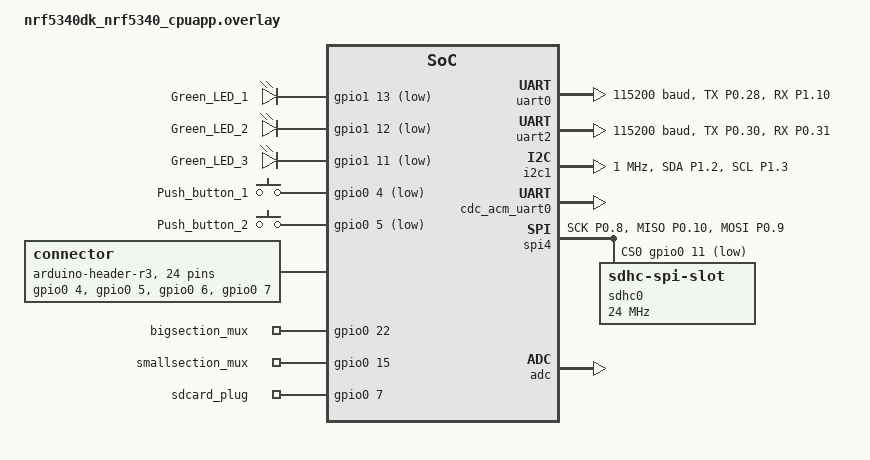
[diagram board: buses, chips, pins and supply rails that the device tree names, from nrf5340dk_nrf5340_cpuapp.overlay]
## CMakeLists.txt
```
cmake_minimum_required(VERSION 3.20.0)
find_package(Zephyr REQUIRED HINTS $ENV{ZEPHYR_BASE})

project(dfu_with_uart)

target_sources(app PRIVATE src/main.c)
target_sources(app PRIVATE src/frame_format.c)
```

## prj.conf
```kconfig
# COMMON ZEPHYR SPECIFIC
CONFIG_ASSERT=y
CONFIG_CONSOLE=y
CONFIG_UART_CONSOLE=y
CONFIG_STDOUT_CONSOLE=y
CONFIG_DEBUG_THREAD_INFO=y
CONFIG_USERSPACE=y


# LOGGING
CONFIG_LOG=y
CONFIG_LOG_BUFFER_SIZE=20240
CONFIG_USB_DRIVER_LOG_LEVEL_ERR=y
CONFIG_USB_DEVICE_LOG_LEVEL_ERR=y


# GIPOS
CONFIG_LED=y
CONFIG_GPIO=y


# Stacks and heaps
CONFIG_MAIN_STACK_SIZE=10240
CONFIG_HEAP_MEM_POOL_SIZE=40960
CONFIG_SYS_HEAP_RUNTIME_STATS=y


# ADC
CONFIG_ADC=n
# CONFIG_NRFX_GPIOTE=y
CONFIG_NRFX_SAADC=y
CONFIG_NRFX_TIMER0=y


# I2C
CONFIG_I2C=y
# CONFIG_LOG_DEFAULT_LEVEL=4
CONFIG_I2C_LOG_LEVEL_DBG=y
CONFIG_I2C_LOG_LEVEL_INF=y
# CONFIG_I2C_1_NRF_TWIM=y
# CONFIG_NRFX_TWIM=y
# CONFIG_NRFX_TWIM1=y
# CONFIG_NRFX_TWIM1=y


# UART
CONFIG_UART_LINE_CTRL=y
CONFIG_UART_USE_RUNTIME_CONFIGURE=y
CONFIG_UART_ASYNC_API=y
CONFIG_UART_INTERRUPT_DRIVEN=n



CONFIG_SERIAL=y

# USB
CONFIG_SERIAL=y
CONFIG_USB_DEVICE_STACK=y
CONFIG_USB_DEVICE_PRODUCT="Dozee_BallistaSense"
CONFIG_USB_DEVICE_PID=0x0004
CONFIG_USB_CDC_ACM=y
CONFIG_USB_DEVICE_INITIALIZE_AT_BOOT=n

# Rebooot
CONFIG_REBOOT=y
CONFIG_RESET_ON_FATAL_ERROR=y


# SDCARD
CONFIG_DISK_ACCESS=y
CONFIG_FILE_SYSTEM=y
CONFIG_FAT_FILESYSTEM_ELM=y
CONFIG_SPI=y
CONFIG_SDHC=y
CONFIG_SPI_SDHC=y
CONFIG_SPI_SLAVE=y
CONFIG_DISK_DRIVER_SDMMC=y
CONFIG_DISK_DRIVERS=y
CONFIG_SDMMC_STACK=y
CONFIG_SDMMC_SUBSYS=y
CONFIG_FS_FATFS_NUM_FILES=32
CONFIG_FS_FATFS_NUM_DIRS=8
CONFIG_FS_FATFS_REENTRANT=y


# Multithreading

CONFIG_MULTITHREADING=y



# Security
# turned off for debugging, turn this on for production
CONFIG_BOOT_BANNER=y


# Testing
CONFIG_BOARD_ENABLE_DCDC_APP=n
CONFIG_BOARD_ENABLE_DCDC_HV=n
CONFIG_BOARD_ENABLE_DCDC_NET=n

# NVS
CONFIG_MPU_ALLOW_FLASH_WRITE=y
CONFIG_FLASH=y
CONFIG_FLASH_PAGE_LAYOUT=y
CONFIG_NVS=y

# YMODEM
CONFIG_POSIX_API=y

# RTC
CONFIG_MINIMAL_LIBC=y
# CONFIG_NEWLIB_LIBC=y
CONFIG_MINIMAL_LIBC_NON_REENTRANT_FUNCTIONS=y

# OTA
CONFIG_BOOTLOADER_MCUBOOT=y
CONFIG_STREAM_FLASH=y
CONFIG_IMG_MANAGER=y
CONFIG_FLASH_MAP=y
CONFIG_MCUBOOT_IMG_MANAGER=y
CONFIG_IMG_ENABLE_IMAGE_CHECK=y
CONFIG_IMG_ERASE_PROGRESSIVELY=y
CONFIG_STREAM_FLASH_ERASE=y
CONFIG_FLASH_AREA_CHECK_INTEGRITY=y
CONFIG_IMG_BLOCK_BUF_SIZE=512


# BLE
CONFIG_BT=y
CONFIG_MAX_THREAD_BYTES=3
CONFIG_BT_PERIPHERAL=y
CONFIG_BT_DEVICE_NAME="DOZEE BALLISTASENSE"


# MD5 CHECKSUM
CONFIG_FLASH_AREA_CHECK_INTEGRITY_MBEDTLS=y
CONFIG_MBEDTLS_MAC_MD5_ENABLED=y


# BLE MTU
CONFIG_BT_THROUGHPUT=y
CONFIG_BT_GATT_DM=y
CONFIG_BT_USER_DATA_LEN_UPDATE=y
CONFIG_BT_USER_PHY_UPDATE=y
# have a look at this!
CONFIG_BT_GAP_AUTO_UPDATE_CONN_PARAMS=n
CONFIG_BT_BUF_ACL_RX_SIZE=519
CONFIG_BT_ATT_PREPARE_COUNT=2
CONFIG_BT_L2CAP_TX_BUF_COUNT=10
# android can have a maximum MTU of 517 and
# maximum packet of 512 bytes, 
# packet size = (mtu_size - 3) 
# so max(mtu_size)= 515
CONFIG_BT_L2CAP_TX_MTU=515
CONFIG_BT_CONN_TX_MAX=10
CONFIG_BT_BUF_ACL_TX_COUNT=10
CONFIG_BT_BUF_ACL_TX_SIZE=519
CONFIG_BT_GATT_AUTO_UPDATE_MTU=y
CONFIG_BT_GATT_CLIENT=y

# CONFIG_BT_CONN_PARAM
# CONFIG_NRF_APPROTECT_LOCK=y
# CONFIG_NRF_APPROTECT_USE_UICR=y
# CONFIG_NRF_SECURE_APPROTECT_LOCK=y
# CONFIG_NRF_SECURE_APPROTECT_USE_UICR=y
#
CONFIG_MINIMAL_LIBC_MALLOC_ARENA_SIZE=2048

# Dependencies
# Configure dependencies for CONFIG_MCUMGR  
```

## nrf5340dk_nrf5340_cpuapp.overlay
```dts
/*	DOZEE BALLISTASENSE DTS CONFIGURATION	*/

dozee_ballista_bigsection: &uart0 {
	status = "okay";
	current-speed = <115200>;
	pinctrl-0 = <&uart0_default>;
	pinctrl-1 = <&uart0_sleep>;
	pinctrl-names = "default", "sleep";
};

dozee_sheet_smallsection: &uart2 {
	status = "okay";
	current-speed = <115200>;
	pinctrl-0 = <&uart2_default>;
	pinctrl-1 = <&uart2_sleep>;
	pinctrl-names = "default", "sleep";
};

dozee_ballista_rtc: &i2c1 {
	status = "okay";
	compatible = "nordic,nrf-twim";
	label = "I2C_1";
	pinctrl-0 = <&i2c1_default>;
	pinctrl-1 = <&i2c1_sleep>;
	pinctrl-names = "default", "sleep";
	clock-frequency = <1000000>; 
};

dozee_ballista_usb: &zephyr_udc0 {
	cdc_acm_uart0: cdc_acm_uart0 {
		compatible = "zephyr,cdc-acm-uart";
	};
};

&spi4 {
	compatible = "nordic,nrf-spim";
	status = "okay";
	pinctrl-0 = <&spi4_default_alt>;
	pinctrl-1 = <&spi4_sleep_alt>;
	pinctrl-names = "default", "sleep";
	cs-gpios = <&gpio0 11 GPIO_ACTIVE_LOW>;

	sdhc0: sdhc@0 {
			compatible = "zephyr,sdhc-spi-slot";
			reg = <0>;
			status = "okay";
			mmc {
				compatible = "zephyr,sdmmc-disk";
				status = "okay";
			};
			spi-max-frequency = <24000000>;
	};
};

&pinctrl {
	i2c1_default: i2c1_default{
		group1 {
			psels = <NRF_PSEL(TWIM_SDA, 1, 2)>,
				<NRF_PSEL(TWIM_SCL, 1, 3)>;
			// bias-pull-up;
		};
	};

	i2c1_sleep: i2c1_sleep{
		group1 {
			psels = <NRF_PSEL(TWIM_SDA, 1, 2)>,
				<NRF_PSEL(TWIM_SCL, 1, 3)>;
			low-power-enable;
		};
	};

	uart0_default: uart0_default {
		group1 {
			psels = <NRF_PSEL(UART_TX, 0, 28)>;
		};
		group2 {
			psels = <NRF_PSEL(UART_RX, 1, 10)>;
			bias-pull-up;
		};
	};

	uart0_sleep: uart0_sleep {
		group1 {
			psels = <NRF_PSEL(UART_TX, 0, 28)>,
				<NRF_PSEL(UART_RX, 1, 10)>;
			low-power-enable;
		};
	};

	uart2_default: uart2_default {
		group1 {
			psels = <NRF_PSEL(UART_TX, 0, 30)>;
		};
		group2 {
			psels = <NRF_PSEL(UART_RX, 0, 31)>;
			bias-pull-up;
		};
	};

	uart2_sleep: uart2_sleep {
		group1 {
			psels = <NRF_PSEL(UART_TX, 0, 30)>,
				<NRF_PSEL(UART_RX, 0, 31)>;
			low-power-enable;
		};
	};

	spi4_default_alt: spi4_default_alt {
		group1 {
			psels = <NRF_PSEL(SPIM_SCK, 0, 8)>,
				<NRF_PSEL(SPIM_MISO, 0, 10)>,
				<NRF_PSEL(SPIM_MOSI, 0, 9)>;
		};
	};

	spi4_sleep_alt: spi4_sleep_alt {
		group1 {
			psels = <NRF_PSEL(SPIM_SCK, 0, 8)>,
				<NRF_PSEL(SPIM_MISO, 0, 10)>,
				<NRF_PSEL(SPIM_MOSI, 0, 9)>;
			low-power-enable;
		};
	};

};

/ {
	aliases {
		led1 = &led1;
		led2 = &led2;
		led3 = &led3;
		sw1 = &button1;
		sw2 = &button2;
		bgsection = &bigsection_mux;
		smsection = &smallsection_mux;
		sdcardplug = &sdcard_plug;
		// sensorsheetplug = &sensorsheet_plug;

	};

	chosen {
		zephyr,console = &uart0;
		zephyr,code-partition = &slot0_partition;
		zephyr,flash = &flash0;
	};

	leds {
		compatible = "gpio-leds";

		led1: led_1 {
			gpios = <&gpio1 13 GPIO_ACTIVE_LOW>;
			label = "Green_LED_1";
		};
		led2: led_2 {
			gpios = <&gpio1 12 GPIO_ACTIVE_LOW>;
			label = "Green_LED_2";
		};
		led3: led_3 {
			gpios = <&gpio1 11 GPIO_ACTIVE_LOW>;
			label = "Green_LED_3";
		};
	};

	buttons {
		compatible = "gpio-keys";
		
		button1: button_1 {
			gpios = <&gpio0 4 (GPIO_PULL_UP | GPIO_ACTIVE_LOW)>;
			label = "Push_button_1";
		};
		button2: button_2 {
			gpios = <&gpio0 5 (GPIO_PULL_UP | GPIO_ACTIVE_LOW)>;
			label = "Push_button_2";
		};
	};

	connector{
		compatible = "arduino-header-r3";
		#gpio-cells = <2>;
		gpio-map-mask = <0xffffffff 0xffffffc0>;
		gpio-map-pass-thru = <0 0x3f>;
		gpio-map = <0 0 &gpio0 4 0>,	/* A0 */
			   <1 0 &gpio0 5 0>,	/* A1 */
			   <2 0 &gpio0 6 0>,	/* A2 */
			   <3 0 &gpio0 7 0>,	/* A3 */
			   <4 0 &gpio0 25 0>,	/* A4 */
			   <5 0 &gpio0 26 0>,	/* A5 */
			   <6 0 &gpio1 0 0>,	/* D0 */
			   <7 0 &gpio1 1 0>,	/* D1 */
			   <8 0 &gpio1 4 0>,	/* D2 */
			   <9 0 &gpio1 5 0>,	/* D3 */
			   <10 0 &gpio1 6 0>,	/* D4 */
			   <11 0 &gpio1 7 0>,	/* D5 */
			   <12 0 &gpio1 8 0>,	/* D6 */
			   <13 0 &gpio1 9 0>,	/* D7 */
			   <14 0 &gpio1 10 0>,	/* D8 */
			   <15 0 &gpio1 11 0>,	/* D9 */
			   <16 0 &gpio1 12 0>,	/* D10 */
			   <17 0 &gpio1 13 0>,	/* D11 */
			   <18 0 &gpio1 14 0>,	/* D12 */
			   <19 0 &gpio1 15 0>,	/* D13 */
			   <20 0 &gpio1 2 0>,	/* D14 */
			   <21 0 &gpio1 3 0>,	/* D15 */
			   <22 0 &gpio0 27 0>,  /* A6 */
			   <23 0 &gpio0 28 0>;  /* A7 */
	};


	sheetsections {
		compatible = "gpio-keys";
		bigsection_mux: bigsection_mux {
			gpios = <&gpio0 22 (GPIO_PULL_DOWN | GPIO_ACTIVE_HIGH)>,
					<&gpio0 17 (GPIO_PULL_DOWN | GPIO_ACTIVE_HIGH)>,
					<&gpio0 16 (GPIO_PULL_UP | GPIO_ACTIVE_HIGH)>;
		};

		smallsection_mux: smallsection_mux {
			gpios = <&gpio0 15 (GPIO_PULL_DOWN | GPIO_ACTIVE_HIGH)>,
					<&gpio1 5 (GPIO_PULL_DOWN | GPIO_ACTIVE_HIGH)>,
					<&gpio0 13 (GPIO_PULL_UP | GPIO_ACTIVE_HIGH)>;
		};
	};

	sdcardplug {
		compatible = "gpio-keys";
		sdcard_plug: sdcard_plug {
			gpios = < &gpio0 7 (GPIO_PULL_UP | GPIO_ACTIVE_HIGH)>;
		};
	};

	// sensorsheetplug {
	// 	compatible = "gpio-keys";
	// 	sensorsheet_plug: sensorsheet_plug {
	// 		gpios = < &gpio0 7 (GPIO_PULL_UP | GPIO_ACTIVE_HIGH)>;
	// 	};
	// };

};	

&adc {
    status = "okay";
    compatible = "nordic,nrf-saadc";
};

&gpiote {
    status = "okay";
};


/delete-node/ &boot_partition;
/delete-node/ &slot0_partition;
/delete-node/ &slot0_ns_partition;
/delete-node/ &slot1_partition;
/delete-node/ &slot1_ns_partition;


&flash0 {
	status = "okay";
	partitions {
		compatible = "fixed-partitions";
		#address-cells = <1>;
		#size-cells = <1>;

		boot_partition: partition@0 {
			label = "mcuboot";
			reg = <0x00000000 0x00010000>;
		};
		slot0_partition: partition@10000 {
			reg = <0x00010000 0x70000>;
			label = "image-0";
		};
		slot1_partition: partition@80000 {
			reg = <0x00080000 0x70000>;
			label = "image-1";
		};
		/* 0xf0000 to 0xf7fff reserved for TF-M partitions */
		storage_partition: partition@f8000 {
			label = "storage";
			reg = <0x000f8000 0x00008000>;
		};
	};
};


/*  for disabling the SDCard pins forwarding to the network core! */
&gpio_fwd {
	status = "disabled";
};
```

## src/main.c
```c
#include "frame_format.h"
#include "zephyr/sys/printk.h"
#include "zephyr/sys/time_units.h"
#include <stdbool.h>
#include <stdint.h>
#include <stdio.h>
#include <stdlib.h>
#include <string.h>
#include <zephyr/dfu/flash_img.h>
#include <zephyr/dfu/mcuboot.h>
#include <zephyr/drivers/gpio.h>
#include <zephyr/drivers/uart.h>
#include <zephyr/kernel.h>
#include <zephyr/storage/flash_map.h>
#include <zephyr/sys/reboot.h>

#define LED_NODE      DT_ALIAS(led1)
#define FW_CHUNK_SIZE 512

// #define ESC_CHAR 0x7D
// #define SOF_CHAR 0xAA
// #define EOF_CHAR 0x55
// #define XOR_MASK 0x20

#define MCUBOOT_PARTITION_ID FLASH_AREA_ID(mcuboot)
#define IMAGE_0_PARTITION_ID FLASH_AREA_ID(image_0)
#define IMAGE_1_PARTITION_ID FLASH_AREA_ID(image_1)
#define STORAGE_PARTITION_ID FLASH_AREA_ID(storage)

#define CURRENT_IMAGE_PARTITION_ID IMAGE_1_PARTITION_ID

#define UART_QUEUE_MAX_SIZE 10
#define UART_MAX_RX         1024

static const struct gpio_dt_spec led = GPIO_DT_SPEC_GET(LED_NODE, gpios);

/* Define a struct to hold the buffer and its length */
struct uart_data
{
    char data[UART_MAX_RX];
    size_t len;
};

/* Define the message queue to hold uart_data structs */
K_MSGQ_DEFINE(uart_msgq, sizeof(struct uart_data), UART_QUEUE_MAX_SIZE, 4);

/* Buffer to temporarily hold incoming data */
static struct uart_data rx_buf;
static int rx_buf_pos;

void uart_send(const struct device *dev, const uint8_t *data, size_t len)
{
    for (int i = 0; i < len; i++)
    {
        uart_poll_out(dev, data[i]);
    }
    printk("Sent %d bytes\n", len);
}

void send_ack(frame_frm_t *frame, const struct device *uart_dev)
{
    frame_frm_t frmt = FF_FRAME_POPULATE_V1_ACK(frame->cmd, frame->id);
    frmt.crc = 0xffff;

    ff_buff_t *ff_buff = ff_create_frame(&frmt);
    if (!ff_buff)
    {
        printk("Failed to create frame\n");
        return;
    }

    uart_send(uart_dev, ff_buff->buff, ff_buff->len);
    ff_free_frame(ff_buff);
}

void serial_cb(const struct device *dev, void *user_data)
{
    uint8_t c;
    if (!uart_irq_update(dev))
        return;

    if (uart_irq_tx_ready(dev))
    {
        printk("TX ready\n");
    }

    if (uart_irq_rx_ready(dev))
    {
        while (uart_fifo_read(dev, &c, 1) == 1)
        {
            if ((c == 0x55) && rx_buf_pos > 0)
            {
                /* terminate buffer with the special character */
                rx_buf.data[rx_buf_pos] = c;

                /* set the length of the data in the struct */
                rx_buf.len = rx_buf_pos + 1;

                /* if queue is full, message is silently dropped */
                k_msgq_put(&uart_msgq, &rx_buf, K_NO_WAIT);

                /* reset the buffer (it was copied to the msgq) */
                rx_buf_pos = 0;
            }
            else if (rx_buf_pos < (sizeof(rx_buf.data) - 1))
            {
                rx_buf.data[rx_buf_pos++] = c;
                // FIXME: if buffer is full, we should drop the message?
            }
        }
    }
    /* read until FIFO empty */
}

int init_uart(const struct device *dev)
{
    if (!device_is_ready(dev))
    {
        printk("UART device not found!");
        return 0;
    }

    /* configure interrupt and callback to receive data */
    int ret = uart_irq_callback_user_data_set(dev, serial_cb, NULL);
    if (ret < 0)
    {
        if (ret == -ENOTSUP)
        {
            printk("Interrupt-driven UART API support not enabled\n");
        }
        else if (ret == -ENOSYS)
        {
            printk("UART device does not support interrupt-driven API\n");
        }
        else
        {
            printk("Error setting UART callback: %d\n", ret);
        }
        return 0;
    }

    uart_irq_rx_enable(dev);
    return 0;
}

void print_partition_info(int partition_id, const char *label)
{
    const struct flash_area *fa;

    int err = flash_area_open(partition_id, &fa);
    if (err)
    {
        printk("Failed to open partition: %s (ID: %d)\n", label, partition_id);
        return;
    }

    printk("Partition: %s\n", label);
    printk("  Offset: 0x%lx\n", (unsigned long)fa->fa_off);
    printk("  Size: 0x%lx\n", (unsigned long)fa->fa_size);

    flash_area_close(fa);
}

typedef enum
{
    STATE_IDLE,
    STATE_DFU_WRITING,
    STATE_DFU_VALIDATE,
    STATE_DFU_REBOOT,
    STATE_ERROR
} dfu_state_t;

typedef enum
{
    DFU_ERR_FRAME_FORMAT = 1,
    DFU_ERR_FLASH_WRITE,
    DFU_ERR_FLASH_VALIDATE,
    DFU_ERR_FLASH_REBOOT
} dfu_err_t;

typedef struct
{
    uint8_t *buffer;
    size_t buffer_len;
    bool is_valid;
    int error;
} state_dfu_context_t;

dfu_state_t state = STATE_IDLE;

// Function prototypes
void handle_idle(state_dfu_context_t *state_ctx, struct flash_img_context *ctx, const struct device *uart_dev);
void handle_dfu_writing(state_dfu_context_t *state_ctx, struct flash_img_context *ctx, const struct device *uart_dev);
void handle_dfu_validate(state_dfu_context_t *state_ctx, struct flash_img_context *ctx, const struct device *uart_dev);
void handle_dfu_reboot(state_dfu_context_t *state_ctx);
void handle_error(state_dfu_context_t *state_ctx, struct flash_img_context *ctx, const struct device *uart_dev);

int main(void)
{
    printk("Hello World! OTA 4 State machine OTA update\n");

    // LED initialization
    int err = gpio_pin_configure_dt(&led, GPIO_OUTPUT_ACTIVE);

    // Print partition info
    print_partition_info(MCUBOOT_PARTITION_ID, "mcuboot");
    print_partition_info(IMAGE_0_PARTITION_ID, "image-0");
    print_partition_info(IMAGE_1_PARTITION_ID, "image-1");
    print_partition_info(STORAGE_PARTITION_ID, "storage");

    // Initialize flash image context
    struct flash_img_context ctx = {0};
    err = flash_img_init_id(&ctx, CURRENT_IMAGE_PARTITION_ID);
    if (err)
    {
        printk("Flash img failed\n");
        k_sleep(K_MSEC(1000));
        return -1;
    }

    printk("Flash img initialized\n");
    printk("Flash size: %d\n", ctx.flash_area->fa_size);
    printk("Flash offset: %ld\n", ctx.flash_area->fa_off);

    // Initialize UART
    const struct device *uart_dev = DEVICE_DT_GET(DT_NODELABEL(dozee_sheet_smallsection));
    init_uart(uart_dev);

    // State context
    state_dfu_context_t state_ctx = {0};

    // State machine loop
    while (1)
    {
        switch (state)
        {
        case STATE_IDLE:
            handle_idle(&state_ctx, &ctx, uart_dev);
            state = STATE_DFU_WRITING;
            break;

        case STATE_DFU_WRITING:
            handle_dfu_writing(&state_ctx, &ctx, uart_dev);
            state = STATE_DFU_VALIDATE;
            break;

        case STATE_DFU_VALIDATE:
            handle_dfu_validate(&state_ctx, &ctx, uart_dev);
            state = STATE_DFU_REBOOT;
            break;

        case STATE_DFU_REBOOT:
            handle_dfu_reboot(&state_ctx);
            state = STATE_IDLE;
            break;

        case STATE_ERROR:
            handle_error(&state_ctx, &ctx, uart_dev);
            state = STATE_IDLE;
            break;

        default:
            printk("Invalid state, transitioning to STATE_ERROR\n");
            state = STATE_ERROR;
            break;
        }
    }

    return 0;
}

void handle_idle(state_dfu_context_t *state_ctx, struct flash_img_context *ctx, const struct device *uart_dev)
{
    printk("STATE_IDLE\n");

    while (k_msgq_get(&uart_msgq, &rx_buf, K_FOREVER) == 0)
    {
        frame_frm_t frame;
        ff_err_t ff_err = ff_process_frame(&frame, rx_buf.data, rx_buf.len);
        if (ff_err != FF_ERR_OK)
        {
            printk("Error processing frame: %d\n", ff_err);
            state_ctx->error = DFU_ERR_FRAME_FORMAT;
            state = STATE_ERROR;
            break;
        }

        if (frame.cmd == 0xF1)
        {
            // printk("Received start command\n");
            // // Erase the flash area
            // int ret = flash_area_erase(ctx->flash_area, 0, ctx->flash_area->fa_size);
            // if (ret != 0)
            // {
            //     printk("Flash erase failed (%d)\n", ret);
            //     state_ctx->error = DFU_ERR_FLASH_WRITE;
            //     state = STATE_ERROR;
            //     break;
            // }
            //
            // printk("Flash erased\n");

            if (!frame.buff && frame.len != 2)
            {
                printk("Invalid length for start command\n");
                state_ctx->error = DFU_ERR_FRAME_FORMAT;
                state = STATE_ERROR;
                break;
            }

            uint16_t total_chunks = ((uint8_t *)frame.buff)[0] << 8 | ((uint8_t *)frame.buff)[1];
            printk("Total chunks: %d\n", total_chunks);

            state_ctx->buffer = frame.buff;
            state_ctx->buffer_len = frame.len;
            state_ctx->is_valid = true;

            frame_frm_t frmt = FF_FRAME_POPULATE_V1_ACK(frame.cmd, frame.id);
            frmt.crc = 0xffff;

            ff_buff_t *ff_buff = ff_create_frame(&frmt);
            if (!ff_buff)
            {
                printk("Failed to create frame\n");
                state_ctx->error = DFU_ERR_FRAME_FORMAT;
                state = STATE_ERROR;
                break;
            }

            // uart_send(uart_dev, ff_buff->buff, ff_buff->len);
            // ff_free_frame(ff_buff);
            //
            // state = STATE_DFU_WRITING;
            break;
        }
    }
    return;
}

void handle_dfu_writing(state_dfu_context_t *state_ctx, struct flash_img_context *ctx, const struct device *uart_dev)
{
    printk("STATE_DFU_WRITING\n");

    struct uart_data rx_buf = {0};
    int i = 0;
    int total_chunks_to_write = 0;

    if (state_ctx->is_valid)
    {
        total_chunks_to_write = state_ctx->buffer[0] << 8 | state_ctx->buffer[1];
        printk("Total chunks to write: %d\n", total_chunks_to_write);
        free(state_ctx->buffer);
    }

    // create a ack  frame

    while (k_msgq_get(&uart_msgq, &rx_buf, K_FOREVER) == 0)
    {
        frame_frm_t frame;
        ff_err_t ff_err = ff_process_frame(&frame, rx_buf.data, rx_buf.len);
        if (ff_err != FF_ERR_OK)
        {
            printk("Error processing frame: %d\n", ff_err);
            state_ctx->error = DFU_ERR_FRAME_FORMAT;
            state = STATE_ERROR;
            break;
        }

        printk("Data length: %d\n", frame.len);
        send_ack(&frame, uart_dev);

        if (frame.buff && frame.len == 512)
        {
            int err = flash_img_buffered_write(ctx, frame.buff, frame.len, false);
            if (err)
            {
                printk("Failed to write to flash: %d\n", err);
                state_ctx->error = DFU_ERR_FLASH_WRITE;
                state = STATE_ERROR;
                break;
            }
            printk(" (%i) Wrote %d bytes:\n", i, frame.len);
            send_ack(&frame, uart_dev);
        }
        else
        {
            int err = flash_img_buffered_write(ctx, frame.buff, frame.len, true);
            if (err)
            {
                printk("Failed to write to flash: %d\n", err);
                state_ctx->error = DFU_ERR_FLASH_WRITE;
                state = STATE_ERROR;
                break;
            }

            printk(" (%i) Wrote %d bytes final:\n", i, frame.len);
            printk(" Done writing\n");
            free(frame.buff);
            break;
        }

        free(frame.buff);
        memset(&rx_buf, 0, sizeof(rx_buf));
        i++;
    }
}

void handle_dfu_validate(state_dfu_context_t *state_ctx, struct flash_img_context *ctx, const struct device *uart_dev)
{
    printk("STATE_DFU_VALIDATE\n");
    // Get the total size of data written to the flash image
    size_t total_size = flash_img_bytes_written(ctx);
    printk("Total size: %d\n", total_size);

    // Clear the receive buffer
    memset(&rx_buf, 0, sizeof(rx_buf));

    // Process incoming messages from UART
    while (k_msgq_get(&uart_msgq, &rx_buf, K_FOREVER) == 0)
    {
        frame_frm_t frame;
        ff_err_t ff_err = ff_process_frame(&frame, rx_buf.data, rx_buf.len);
        if (ff_err != FF_ERR_OK)
        {
            printk("Error processing frame: %d\n", ff_err);
            state_ctx->error = DFU_ERR_FRAME_FORMAT;
            state = STATE_ERROR;
            break;
        }

        // Check for the correct command (0xF3)
        if (frame.cmd != 0xF3)
        {
            printk("Invalid command: %d\n", frame.cmd);
            state_ctx->error = DFU_ERR_FRAME_FORMAT;
            state = STATE_ERROR;
            break;
        }

        if (!frame.buff && frame.len != 32)
        {
            printk("Invalid SHA256 hash length: %d\n", frame.len);
            state_ctx->error = DFU_ERR_FRAME_FORMAT;
            state = STATE_ERROR;
            break;
        }

        const struct flash_img_check check = {
            .match = (uint8_t *)frame.buff,
            .clen = total_size,
        };

        int hash_match = flash_img_check(ctx, &check, IMAGE_1_PARTITION_ID);
        if (hash_match == 0)
        {
            printk("Hash match\n");
            state = STATE_DFU_REBOOT;
            break;
        }
        else
        {
            printk("Hash invalid\n");
            state_ctx->error = DFU_ERR_FLASH_VALIDATE;
            state = STATE_ERROR;
            break;
        }

        free(frame.buff);
    }
}

void handle_dfu_reboot(state_dfu_context_t *state_ctx)
{
    printk("STATE_DFU_REBOOT\n");

    // Request the upgrade
    int err = boot_request_upgrade_multi(IMAGE_1_PARTITION_ID, BOOT_UPGRADE_PERMANENT);
    if (err)
    {
        printk("Failed to request upgrade: %d\n", err);
        state = STATE_ERROR;
        return;
    }

    k_sleep(K_MSEC(5000));
    sys_reboot(SYS_REBOOT_COLD);
}

void handle_error(state_dfu_context_t *state_ctx, struct flash_img_context *ctx, const struct device *uart_dev)
{
    printk("STATE_ERROR\n");

    switch (state_ctx->error)
    {
    case DFU_ERR_FRAME_FORMAT:
        printk("Error: Frame format\n");
        break;

    case DFU_ERR_FLASH_WRITE:
        printk("Error: Flash write\n");
        break;

    case DFU_ERR_FLASH_VALIDATE:
        printk("Error: Flash validate\n");
        break;

    case DFU_ERR_FLASH_REBOOT:
        printk("Error: Flash reboot\n");
        break;

    default:
        printk("Unknown error\n");
        break;
    }

    k_sleep(K_MSEC(1000));
}
```

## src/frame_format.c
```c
#include <stdint.h>
#include <stdlib.h>
#include <string.h>

#include <zephyr/sys/crc.h>
#include <zephyr/sys/printk.h>

#include "frame_format.h"
static ff_err_t ff_unpack_frame(frame_frm_t *frame, const uint8_t *filter_data)
{
    if (!frame || !filter_data)
    {
        printk("Invalid input\n");
        return FF_ERR_INVALID_INPUT;
    }

    frame->soh = filter_data[0];                         // 1 byte
    frame->ver = filter_data[1];                         // 1 byte
    frame->cmd = (filter_data[2] << 8) | filter_data[3]; // 2 bytes
    frame->ssoh = filter_data[4];                        // 1 byte
    frame->len = (filter_data[5] << 8) | filter_data[6]; // 2 bytes

    // Allocate memory for buff and copy data
    frame->buff = malloc(frame->len * sizeof(uint8_t));
    if (!frame->buff)
    {
        printk("Memory allocation failed\n");
        return FF_ERR_NO_MEMORY;
    }

    memcpy(frame->buff, &filter_data[7], frame->len);
    frame->id = filter_data[7 + frame->len];

    frame->crc = (filter_data[8 + frame->len] << 24) | (filter_data[9 + frame->len] << 16) |
                 (filter_data[10 + frame->len] << 8) | filter_data[11 + frame->len];

    frame->eot = filter_data[12 + frame->len];

    return FF_ERR_OK;
}

static void ff_print_uint8_array(const char *name, uint8_t *data, size_t len)
{
    printk("%s: ", name);
    for (size_t i = 0; i < len; i++)
    {
        printk("%02x", data[i]);
    }
    printk("\n");
}

// Function to add escape sequence to data, excluding first and last bytes (header/footer)
uint8_t *ff_add_escape_sequence(const uint8_t *data, size_t len, size_t *new_len)
{
    if (len <= 2)
    {
        // If there are only header and footer bytes, no need to escape anything
        *new_len = len;
        uint8_t *result = (uint8_t *)malloc(len);
        if (result != NULL)
        {
            for (size_t i = 0; i < len; i++)
            {
                result[i] = data[i]; // Just copy the data
            }
        }
        return result;
    }

    // Step 1: Calculate new length (excluding the first and last bytes)
    size_t escaped_len = len; // Initial length includes header and footer without modification

    for (size_t i = 1; i < len - 1; i++)
    { // Start from index 1 and end at len - 1 (exclude header/footer)
        uint8_t byte = data[i];
        if (byte == FF_SOF_CHAR || byte == FF_EOF_CHAR || byte == FF_ESC_CHAR)
        {
            escaped_len += 1; // Special byte requires escape + XORed byte, adding an extra byte
        }
    }

    // Step 2: Allocate memory for the new buffer
    uint8_t *escaped_data = (uint8_t *)malloc(escaped_len);
    if (escaped_data == NULL)
    {
        // Handle memory allocation failure
        *new_len = 0;
        return NULL;
    }

    // Step 3: Copy the header byte as-is
    escaped_data[0] = data[0]; // Header (first byte)

    // Step 4: Process and escape the middle bytes (excluding header and footer)
    size_t idx = 1;
    for (size_t i = 1; i < len - 1; i++)
    {
        uint8_t byte = data[i];
        if (byte == FF_SOF_CHAR || byte == FF_EOF_CHAR || byte == FF_ESC_CHAR)
        {
            escaped_data[idx++] = FF_ESC_CHAR;        // Insert escape character
            escaped_data[idx++] = byte ^ FF_XOR_MASK; // Insert XORed byte
        }
        else
        {
            escaped_data[idx++] = byte; // Insert regular byte
        }
    }

    // Step 5: Copy the footer byte as-is
    escaped_data[idx] = data[len - 1]; // Footer (last byte)
    ff_print_uint8_array("Escaped data", escaped_data, escaped_len);

    *new_len = escaped_len; // Update new length
    return escaped_data;
}

static size_t ff_calculate_filtered_length(const uint8_t *data, size_t data_len)
{
    size_t i = 0, filtered_len = 0;

    while (i < data_len)
    {
        if (data[i] == FF_ESC_CHAR)
        {
            i += 2; // Skip the escape character and the following XOR-ed byte
        }
        else
        {
            i++;
        }
        filtered_len++;
    }

    return filtered_len;
}

static size_t ff_rm_escape_sequnce(uint8_t *raw_buff, size_t raw_len, uint8_t *filter_data)
{
    size_t i = 0, j = 0;

    while (i < raw_len)
    {
        if (raw_buff[i] == FF_ESC_CHAR)
        {
            i++;                                            // Skip the escape character
            filter_data[j++] = (raw_buff[i] ^ FF_XOR_MASK); // Apply XOR mask and store result
            i++;
        }
        else
        {
            filter_data[j++] = raw_buff[i++]; // Copy non-escaped byte
        }
    }

    return j;
}

static ff_err_t ff_validate_raw_frame(uint8_t *raw_buff, uint16_t len)
{
    if (!raw_buff)
    {
        printk("Invalid input\n");
        return FF_ERR_INVALID_INPUT;
    }

    if (len < 0 || len > 65535)
    {
        printk("Invalid buffer length\n");
        return FF_ERR_INVALID_INPUT;
    }

    if (raw_buff[0] != FF_SOF_CHAR)
    {
        printk("Invalid SOF\n");
        return FF_ERR_SOF_MISMATCH;
    }

    if (raw_buff[len - 1] != FF_EOF_CHAR)
    {
        printk("Invalid EOF\n");
        return FF_ERR_EOF_MISMATCH;
    }

    /* Validate the CRC */
    uint32_t crc = (raw_buff[len - 5] << 24) | (raw_buff[len - 4] << 16) | (raw_buff[len - 3] << 8) | raw_buff[len - 2];
    printk("CRC: %08x\n", crc);

    uint32_t crc_calc = crc32_ieee(raw_buff, len - 5);
    printk("CRC Calc: %08x\n", crc_calc);

    if (crc != crc_calc)
    {
        printk("CRC mismatch\n");
        return FF_ERR_CRC_MISMATCH;
    }

    return FF_ERR_OK;
}

size_t ff_get_rawbuff_len(frame_frm_t *frame)
{

    return (13 + frame->len);
}

uint8_t *ff_pack_frame(frame_frm_t *frame)
{
    if (!frame)
    {
        printk("Invalid input\n");
        return NULL;
    }

    uint8_t *packed_data = malloc(ff_get_rawbuff_len(frame));
    if (!packed_data)
    {
        printk("Memory allocation failed\n");
        return NULL;
    }

    // Pack the frame fields
    packed_data[0] = frame->soh;
    packed_data[1] = frame->ver;
    packed_data[2] = (frame->cmd >> 8) & 0xFF;
    packed_data[3] = frame->cmd & 0xFF;
    packed_data[4] = frame->ssoh;
    packed_data[5] = (frame->len >> 8) & 0xFF;
    packed_data[6] = frame->len & 0xFF;

    // Copy buffer data
    memcpy(&packed_data[7], frame->buff, frame->len);

    // Add frame ID
    packed_data[7 + frame->len] = frame->id;

    // Add CRC
    packed_data[8 + frame->len] = (frame->crc >> 24) & 0xFF;
    packed_data[9 + frame->len] = (frame->crc >> 16) & 0xFF;
    packed_data[10 + frame->len] = (frame->crc >> 8) & 0xFF;
    packed_data[11 + frame->len] = frame->crc & 0xFF;

    // Add EOT
    packed_data[12 + frame->len] = frame->eot;

    return packed_data;
}

ff_err_t ff_process_frame(frame_frm_t *frame, uint8_t *raw_buff, uint16_t len)
{
    if (!frame)
    {
        printk("Invalid input\n");
        return FF_ERR_INVALID_INPUT;
    }

    if (!raw_buff)
    {
        printk("Invalid buffer\n");
        return FF_ERR_INVALID_INPUT;
    }

    if (len < 0 || len > 65535)
    {
        printk("Invalid buffer length\n");
        return FF_ERR_INVALID_INPUT;
    }

    ff_err_t ret = FF_ERR_OK;

    /* Print the raw data */
    // ff_print_uint8_array("R data", raw_buff, len);

    /* Remove escape characters from the raw buffer */
    size_t cal_filtered_len = ff_calculate_filtered_length(raw_buff, len);
    // printk("Filtered length: %zu\n", cal_filtered_len);

    uint8_t *filter_data = malloc(sizeof(uint8_t) * cal_filtered_len);
    if (!filter_data)
    {
        printk("Memory allocation failed\n");
        return FF_ERR_INVALID_INPUT;
    }

    size_t actual_filtered_len = ff_rm_escape_sequnce(raw_buff, len, filter_data);

    if (cal_filtered_len != actual_filtered_len)
    {
        printk("Error in removing escape characters got %zu, expected %zu\n", actual_filtered_len, cal_filtered_len);
        return FF_ERR_INVALID_INPUT;
    }

    /* Validate the raw frame */
    ret = ff_validate_raw_frame(filter_data, actual_filtered_len);
    if (ret != FF_ERR_OK)
    {
        printk("Error in validating raw frame\n");
        return ret;
    }

    /* Process the frame */
    ret = ff_unpack_frame(frame, filter_data);
    if (ret != FF_ERR_OK)
    {
        printk("Error in unpacking frame\n");
        return ret;
    }

    free(filter_data);
    return FF_ERR_OK;
}

ff_buff_t *ff_create_frame(frame_frm_t *frame)
{

    if (!frame)
    {
        printk("Invalid input Args is NULL\n");
        return NULL;
    }

    uint8_t *buffer = ff_pack_frame(frame);
    if (!buffer)
    {
        printk("Error in packing frame\n");
        return NULL;
    }

    /* Add escape sequence */
    int new_len;

    uint8_t *buff = ff_add_escape_sequence(buffer, ff_get_rawbuff_len(frame), &new_len);
    if (!buff)
    {
        printk("Error in adding escape sequence\n");
        return NULL;
    }

    free(buffer);

    ff_buff_t *ff_buff = malloc(sizeof(ff_buff_t));
    if (!ff_buff)
    {
        printk("Memory allocation failed\n");
        return NULL;
    }

    ff_buff->buff = buff;
    ff_buff->len = new_len;

    return ff_buff;
}

void ff_free_frame(ff_buff_t *ff_buff)
{
    if (ff_buff)
    {
        if (ff_buff->buff)
        {
            free(ff_buff->buff);
        }
        free(ff_buff);
    }
}
```

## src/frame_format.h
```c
#ifndef FRAME_FORMAT_H
#define FRAME_FORMAT_H

// include the necessary headers
#include <stdint.h>

#ifdef __cplusplus
extern "C"
{
#endif

#define FF_ESC_CHAR 0x7D
#define FF_SOF_CHAR 0xAA
#define FF_EOF_CHAR 0x55
#define FF_XOR_MASK 0x20

    typedef enum
    {
        FF_ERR_OK = 0,
        FF_ERR_INVALID_INPUT,
        FF_ERR_NO_MEMORY,
        FF_ERR_SOF_MISMATCH,
        FF_ERR_EOF_MISMATCH,
        FF_ERR_CRC_MISMATCH,
        FF_ERR_INVALID_CMD,
        FF_ERR_INVALID_SSOH,
        FF_ERR_INVALID_VER,
    } ff_err_t;

    typedef enum
    {
        FF_VER_1 = 1, /* Version 1 */
    } ff_ver_t;

    typedef enum
    {
        FF_SSOH_1 = 1, /* SSOH 1 -> tx msg in ff format */
        FF_SSOH_2,     /* SSOH 2 -> rx msg in ff format */
        FF_SSOH_3,     /* SSOH 3 -> error msg in ff format */
        FF_SSOH_4,     /* SSOH 4 -> ack msg in ff format */
    } ff_ssoh_t;

    typedef struct
    {
        uint8_t soh;
        uint8_t ver;
        uint16_t cmd;
        uint8_t ssoh;
        uint16_t len;
        void *buff;
        uint32_t crc;
        uint8_t id;
        uint8_t eot;
    } frame_frm_t;

#define FF_FRAME_POPULATE_V1_TX(cmd_val, len_val, buff_ptr)                                                            \
    {                                                                                                                  \
        .soh = 0xAA, .ver = 1, .cmd = (cmd_val), .ssoh = (FF_SSOH_1), .len = (len_val), .buff = (buff_ptr), .crc = 0,  \
        .id = 0, .eot = 0x55                                                                                           \
    }

#define FF_FRAME_POPULATE_V1_RX(cmd_val, len_val, buff_ptr, id)                                                        \
    {                                                                                                                  \
        .soh = 0xAA, .ver = 1, .cmd = (cmd_val), .ssoh = (FF_SSOH_2), .len = (len_val), .buff = (buff_ptr), .crc = 0,  \
        .id = (id), .eot = 0x55                                                                                        \
    }

#define FF_FRAME_POPULATE_V1_ERR(cmd_val, len_val, buff_ptr, id)                                                       \
    {                                                                                                                  \
        .soh = 0xAA, .ver = 1, .cmd = (cmd_val), .ssoh = (FF_SSOH_3), .len = (len_val), .buff = (buff_ptr), .crc = 0,  \
        .id = (id), .eot = 0x55                                                                                        \
    }

#define FF_FRAME_POPULATE_V1_ACK(cmd_val, frame_id)                                                                    \
    {                                                                                                                  \
        .soh = 0xAA, .ver = 1, .cmd = (cmd_val), .ssoh = (FF_SSOH_4), .len = 0, .buff = NULL, .crc = 0,                \
        .id = (frame_id), .eot = 0x55                                                                                  \
    }

    typedef struct
    {
        uint8_t *buff;
        uint16_t len;
    } ff_buff_t;

    ff_err_t ff_process_frame(frame_frm_t *frame, uint8_t *buff, uint16_t len);
    ff_buff_t *ff_create_frame(frame_frm_t *frame);
    void ff_free_frame(ff_buff_t *frame);

#ifdef __cplusplus
}
#endif

#endif // FRAME_FORMAT_H
```
